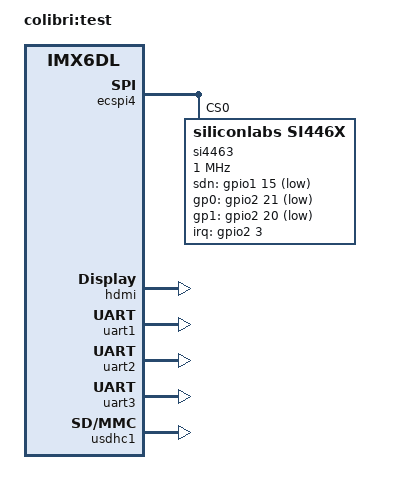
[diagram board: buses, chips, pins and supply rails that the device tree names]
/*
 * Just for test hardware and software
 */

/dts-v1/;

#include <dt-bindings/input/input.h>
#include <dt-bindings/interrupt-controller/irq.h>
#include "imx6dl.dtsi"
#include "imx6qdl-colibri.dtsi"

/ {
	model = "colibri:test";
	compatible = "toradex,colibri_imx6dl", "fsl,imx6dl";
};


/* Colibri SSP */
&ecspi4 {
	status = "okay";

	si4463@0 {
		compatible = "siliconlabs,si446x";
		pinctrl-names = "default";
		pinctrl-0 = <&pinctrl_si4463x>;
		reg = <0>;
		spi-max-frequency = <1000000>;
		spi-cpha;
		interrupt-parent = <&gpio2>;
		interrupts = <3 IRQ_TYPE_EDGE_RISING>;
		sdn-gpio = <&gpio1 15 GPIO_ACTIVE_LOW>;
		gp0-gpio = <&gpio2 21 GPIO_ACTIVE_LOW>;
		gp1-gpio = <&gpio2 20 GPIO_ACTIVE_LOW>;
		status = "okay";
	};
};


&hdmi { status = "okay"; };
&uart1 { status = "okay"; }; /* default full feature uart */
&uart2 { status = "okay"; }; /* default have CTS/RTS pins */
&uart3 { status = "okay"; }; /* default 3-wire uart */

/* external mmc card */
&usdhc1 { status = "okay"; };

/* Board specific io muxing */
&iomuxc {
	pinctrl_si4463x: gpio-si4463x {
		fsl,pins = <
			MX6QDL_PAD_SD2_DAT0__GPIO1_IO15 0x1b0b0 /* soDimm098 - nSHDN */
			MX6QDL_PAD_NANDF_D3__GPIO2_IO03 0x1b0b0 /* soDimm133 - nIRQ */
			MX6QDL_PAD_EIM_A17__GPIO2_IO21	0x1b0b0 /* soDimm101 - GPIO0 */
			MX6QDL_PAD_EIM_A18__GPIO2_IO20  0x1b0b0 /* soDimm103 - GPIO1 */
		>;
	};

};
